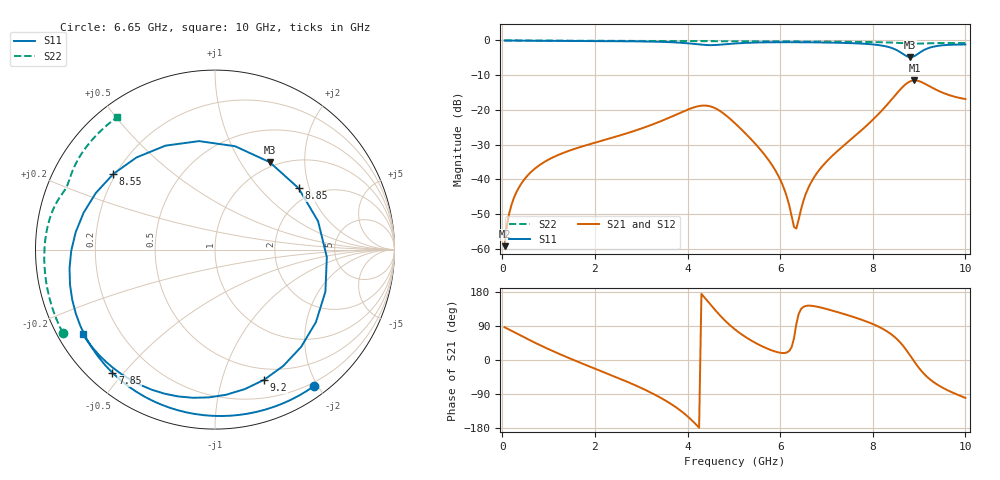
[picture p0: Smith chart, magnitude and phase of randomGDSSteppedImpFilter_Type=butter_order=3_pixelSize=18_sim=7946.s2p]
! freq	dB(S11)	phase(S11)	dB(S12)	phase(S12)
!  dB(S21)	phase(S21)	dB(S22)	phase(S22)
!S-par simulation data
#  GHz  S  DB  R 50
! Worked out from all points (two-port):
!   200 points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, 50 MHz to 10 GHz, reference 50 ohm
!   highest |S21| = -11.50 dB at 8.9 GHz (marker M1); lowest = -59.3 dB at 50 MHz (marker M2)
!   |S21| within 3 dB of the highest: 8.569 GHz to 9.416 GHz (847.7 MHz wide, 9.43 % of centre)
!   lowest |S11| = -4.8 dB at 8.8 GHz (marker M3), VSWR 3.70, Z = 46.5 + j67.6 ohm
!   |S11| at or under -10 dB: nowhere
!   |S22| runs from -0.9 to 0.0 dB; largest |S21 - S12| = 0
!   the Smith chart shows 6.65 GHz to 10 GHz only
!   S11 on the Smith chart (normalised r, x): 6.65 GHz: 0.15, -1.96; 7.85 GHz: 0.07, -0.47; 8.55 GHz: 0.19, +0.32; 8.85 GHz: 1.65, +1.70; 9.2 GHz: 0.38, -1.38; 10 GHz: 0.07, -0.29
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0.05  -0.00 -5.3  -59.27 86.4  -59.27 86.4  -0.00 -1.3
0.3  -0.04 -31.0  -43.87 70.5  -43.87 70.5  -0.01 -7.5
0.85  -0.10 -84.4  -35.50 37.1  -35.50 37.1  -0.03 -21.2
1.75  -0.16 -159.1  -30.44 -10.5  -30.44 -10.5  -0.06 -43.2
2.5  -0.22 143.7  -27.52 -47.4  -27.52 -47.4  -0.09 -61.0
3.4  -0.39 63.6  -23.39 -98.4  -23.39 -98.4  -0.13 -81.5
3.9  -0.71 -2.7  -20.52 -138.5  -20.52 -138.5  -0.17 -92.6
4.3  -1.22 -86.9  -18.80 174.4  -18.80 174.4  -0.21 -101.1
4.65  -1.28 179.2  -19.90 124.5  -19.90 124.5  -0.21 -108.4
5.05  -0.85 96.5  -24.17 78.2  -24.17 78.2  -0.20 -116.9
5.6  -0.56 27.4  -31.88 36.8  -31.88 36.8  -0.21 -128.7
6.3  -0.51 -30.4  -53.76 58.0  -53.76 58.0  -0.26 -143.7
6.65  -0.54 -53.9  -41.35 143.3  -41.35 143.3  -0.29 -151.3
6.7  -0.55 -57.1  -40.14 142.7  -40.14 142.7  -0.30 -152.4
7.85  -0.98 -129.8  -24.74 102.2  -24.74 102.2  -0.43 -178.6
8.35  -1.93 -179.5  -17.90 72.2  -17.90 72.2  -0.57 169.0
8.55  -3.02 143.3  -14.78 51.8  -14.78 51.8  -0.70 163.9
8.8  -4.81 58.0  -11.82 13.1  -11.82 13.1  -0.91 158.4
8.85  -4.76 36.3  -11.59 4.2  -11.59 4.2  -0.93 157.4
8.9  -4.50 15.4  -11.50 -4.7  -11.50 -4.7  -0.94 156.5
9.2  -2.21 -69.4  -13.01 -47.4  -13.01 -47.4  -0.82 149.7
10  -1.16 -147.5  -16.88 -100.1  -16.88 -100.1  -0.75 126.4
